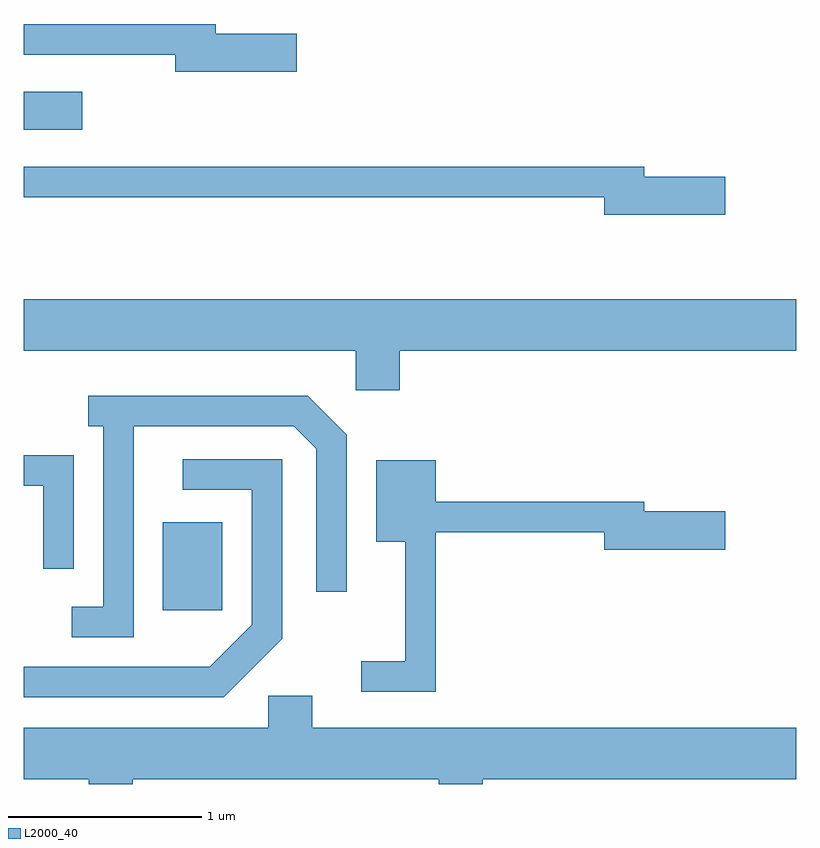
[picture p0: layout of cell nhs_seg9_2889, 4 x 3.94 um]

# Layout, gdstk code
import gdstk
lib = gdstk.Library(unit=1e-6, precision=1e-09)
def R(c, l, rs):  # rectangles x0, y0, x1, y1
    for r in rs: c.add(gdstk.rectangle(r[:2], r[2:], *l))
def P(c, l, *ps):  # polygons
    for p in ps: c.add(gdstk.Polygon(p, *l))
L2000_40 = (2000, 40)

nhs_seg9_2889 = lib.new_cell('nhs_seg9_2889')
R(nhs_seg9_2889, L2000_40, [(270.331,2019.331,270.639,2019.789), (269.611,2021.821,269.914,2022.019)])
P(nhs_seg9_2889, L2000_40, [(271.024,2022.319),(270.604,2022.319),(270.604,2022.369),(269.611,2022.369),(269.611,2022.211),(270.396,2022.211),(270.396,2022.121),(271.024,2022.121)],
  [(273.244,2021.579),(272.824,2021.579),(272.824,2021.629),(269.611,2021.629),(269.611,2021.471),(272.616,2021.471),(272.616,2021.381),(273.244,2021.381)],
  [(271.559,2020.676),(273.611,2020.676),(273.611,2020.944),(269.611,2020.944),(269.611,2020.676),(271.331,2020.676),(271.331,2020.471),(271.559,2020.471)],
  [(270.179,2020.286),(271.009,2020.286),(271.126,2020.169),(271.126,2019.428),(271.284,2019.428),(271.284,2020.242),(271.082,2020.444),(269.943,2020.444),(269.943,2020.286),(270.021,2020.286),(270.021,2019.349),(269.858,2019.349),(269.858,2019.191),(270.179,2019.191)],
  [(269.869,2020.134),(269.611,2020.134),(269.611,2019.976),(269.711,2019.976),(269.711,2019.548),(269.869,2019.548)],
  [(270.949,2019.184),(270.949,2020.114),(270.433,2020.114),(270.433,2019.956),(270.791,2019.956),(270.791,2019.257),(270.574,2019.039),(269.611,2019.039),(269.611,2018.881),(270.647,2018.881)],
  [(271.744,2019.736),(272.616,2019.736),(272.616,2019.646),(273.244,2019.646),(273.244,2019.844),(272.824,2019.844),(272.824,2019.894),(271.744,2019.894),(271.744,2020.109),(271.436,2020.109),(271.436,2019.686),(271.586,2019.686),(271.586,2019.069),(271.358,2019.069),(271.358,2018.911),(271.744,2018.911)],
  [(270.174,2018.456),(271.761,2018.456),(271.761,2018.432),(271.989,2018.432),(271.989,2018.456),(273.611,2018.456),(273.611,2018.724),(271.104,2018.724),(271.104,2018.889),(270.876,2018.889),(270.876,2018.724),(269.611,2018.724),(269.611,2018.456),(269.946,2018.456),(269.946,2018.432),(270.174,2018.432)])

lib.write_gds('nhs_seg9_2889.gds')
